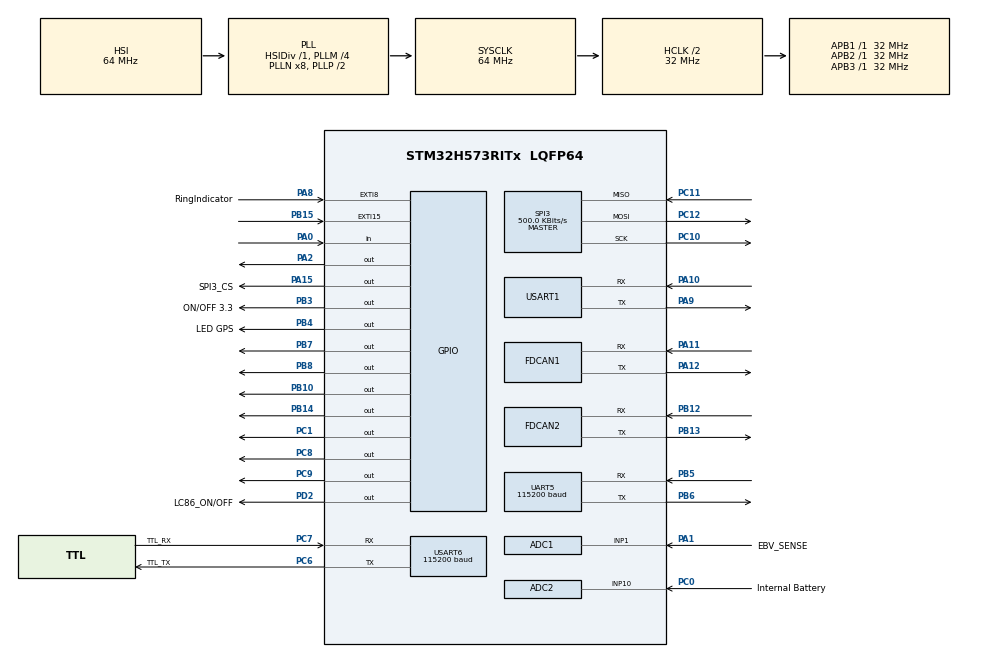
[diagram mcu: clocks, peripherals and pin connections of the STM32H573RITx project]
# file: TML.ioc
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ADC1.Channel-2\#ChannelRegularConversion=ADC_CHANNEL_1
ADC1.MonitoredBy-2\#ChannelRegularConversion=__NULL
ADC1.NbrOfConversionFlag=1
ADC1.OffsetNumber-2\#ChannelRegularConversion=ADC_OFFSET_NONE
ADC1.Rank-2\#ChannelRegularConversion=1
ADC1.SamplingTime-2\#ChannelRegularConversion=ADC_SAMPLETIME_2CYCLES_5
ADC1.master=1
ADC2.Channel-0\#ChannelRegularConversion=ADC_CHANNEL_10
ADC2.MonitoredBy-0\#ChannelRegularConversion=__NULL
ADC2.NbrOfConversionFlag=1
ADC2.OffsetNumber-0\#ChannelRegularConversion=ADC_OFFSET_NONE
ADC2.Rank-0\#ChannelRegularConversion=1
ADC2.SamplingTime-0\#ChannelRegularConversion=ADC_SAMPLETIME_2CYCLES_5
BOOTPATH.BootPathName=LEGACY
BOOTPATH.UserSelectedBootPath=LEGACY
CORTEX_M33_NS.userName=CORTEX_M33
CRC.CRCLength=CRC_POLYLENGTH_8B
CRC.DefaultInitValueUse=DEFAULT_INIT_VALUE_DISABLE
CRC.DefaultPolynomialUse=DEFAULT_POLYNOMIAL_DISABLE
FDCAN1.AutoRetransmission=ENABLE
FDCAN1.CalculateBaudRateNominal=500000
FDCAN1.CalculateTimeBitNominal=2000
FDCAN1.CalculateTimeQuantumNominal=20.0
FDCAN1.DataPrescaler=4
FDCAN1.DataSyncJumpWidth=9
FDCAN1.DataTimeSeg1=15
FDCAN1.DataTimeSeg2=9
FDCAN1.NominalPrescaler=1
FDCAN1.NominalSyncJumpWidth=13
FDCAN1.NominalTimeSeg1=86
FDCAN1.NominalTimeSeg2=13
FDCAN1.ProtocolException=ENABLE
FDCAN2.AutoRetransmission=ENABLE
FDCAN2.CalculateBaudRateNominal=500000
FDCAN2.CalculateTimeBitNominal=2000
FDCAN2.CalculateTimeQuantumNominal=20.0
FDCAN2.DataPrescaler=4
FDCAN2.DataSyncJumpWidth=9
FDCAN2.DataTimeSeg1=15
FDCAN2.DataTimeSeg2=9
FDCAN2.NominalPrescaler=1
FDCAN2.NominalSyncJumpWidth=13
FDCAN2.NominalTimeSeg1=86
FDCAN2.NominalTimeSeg2=13
FDCAN2.ProtocolException=ENABLE
FLASH.OB_BOR_Level_active=false
FLASH.OB_EDATA1_active=false
FLASH.OB_Product_State_active=true
FLASH.advanced_settings=true
GPDMA1.CIRCULARMODE_GPDMACH4=ENABLE
GPDMA1.DESTINC_GPDMACH4=DMA_DINC_INCREMENTED
GPDMA1.IPHANDLE_GPDMACH4-SIMPLEREQUEST_GPDMACH4=__NULL
GPDMA1.PRIORITY_LL_CIRCULAR_GPDMACH4=DMA_HIGH_PRIORITY
GPDMA1.REQUEST_GPDMACH4=GPDMA1_REQUEST_UART5_RX
Mcu.Family=STM32H5
Mcu.Name=STM32H573RITx
Mcu.Package=LQFP64
NVIC.EXTI15_IRQn=true\:0\:0\:false\:false\:true\:true\:true\:true
NVIC.EXTI8_IRQn=true\:0\:0\:false\:false\:true\:true\:true\:true
NVIC.FDCAN1_IT0_IRQn=true\:0\:0\:false\:false\:true\:true\:true\:true
NVIC.FDCAN2_IT0_IRQn=true\:0\:0\:false\:false\:true\:true\:true\:true
NVIC.GPDMA1_Channel4_IRQn=true\:0\:0\:false\:false\:true\:false\:true\:true
NVIC.PriorityGroup=NVIC_PRIORITYGROUP_4
NVIC.RTC_IRQn=true\:0\:0\:false\:false\:true\:true\:true\:true
NVIC.TIM6_IRQn=true\:0\:0\:false\:false\:true\:true\:true\:true
NVIC.UART5_IRQn=true\:0\:0\:false\:false\:true\:true\:true\:true
NVIC.USART1_IRQn=true\:0\:0\:false\:false\:true\:true\:true\:true
NVIC.USART6_IRQn=true\:0\:0\:false\:false\:true\:true\:true\:true
PA0.Signal=GPIO_Input
PA1.GPIO_Label=EBV_SENSE
PA1.Signal=ADCx_INP1
PA10.GPIO_ModeDefaultPP=GPIO_MODE_AF_PP
PA10.GPIO_PuPd=GPIO_NOPULL
PA10.GPIO_Speed=GPIO_SPEED_FREQ_LOW
PA10.Mode=Asynchronous
PA10.Signal=USART1_RX
PA11.Mode=FDCAN_Activate
PA11.Signal=FDCAN1_RX
PA12.Mode=FDCAN_Activate
PA12.Signal=FDCAN1_TX
PA13(JTMS/SWDIO).Mode=Serial_Wire
PA13(JTMS/SWDIO).Signal=DEBUG_JTMS-SWDIO
PA14(JTCK/SWCLK).Mode=Serial_Wire
PA14(JTCK/SWCLK).Signal=DEBUG_JTCK-SWCLK
PA15(JTDI).GPIO_Label=SPI3_CS
PA15(JTDI).GPIO_Speed=GPIO_SPEED_FREQ_VERY_HIGH
PA15(JTDI).PinState=GPIO_PIN_SET
PA15(JTDI).Signal=GPIO_Output
PA2.Signal=GPIO_Output
PA8.GPIO_Label=RingIndicator
PA8.GPIO_ModeDefaultEXTI=GPIO_MODE_IT_FALLING
PA8.Signal=GPXTI8
PA9.GPIO_ModeDefaultPP=GPIO_MODE_AF_PP
PA9.GPIO_PuPd=GPIO_NOPULL
PA9.GPIO_Speed=GPIO_SPEED_FREQ_LOW
PA9.Mode=Asynchronous
PA9.Signal=USART1_TX
PB10.Signal=GPIO_Output
PB12.Mode=FDCAN_Activate
PB12.Signal=FDCAN2_RX
PB13.Mode=FDCAN_Activate
PB13.Signal=FDCAN2_TX
PB14.Signal=GPIO_Output
PB15.GPIO_ModeDefaultEXTI=GPIO_MODE_IT_FALLING
PB15.Signal=GPXTI15
PB3(JTDO/TRACESWO).GPIO_Label=ON/OFF 3.3
PB3(JTDO/TRACESWO).Signal=GPIO_Output
PB4(NJTRST).GPIO_Label=LED GPS
PB4(NJTRST).Signal=GPIO_Output
PB5.GPIO_ModeDefaultPP=GPIO_MODE_AF_PP
PB5.GPIO_PuPd=GPIO_NOPULL
PB5.GPIO_Speed=GPIO_SPEED_FREQ_LOW
PB5.Mode=Asynchronous
PB5.Signal=UART5_RX
PB6.GPIO_FM6=__NULL
PB6.GPIO_ModeDefaultPP=GPIO_MODE_AF_PP
PB6.GPIO_PuPd=GPIO_NOPULL
PB6.GPIO_Speed=GPIO_SPEED_FREQ_LOW
PB6.Mode=Asynchronous
PB6.Signal=UART5_TX
PB7.Signal=GPIO_Output
PB8.Signal=GPIO_Output
PC0.GPIO_Label=Internal Battery
PC0.Signal=ADCx_INP10
PC1.PinState=GPIO_PIN_SET
PC1.Signal=GPIO_Output
PC10.Mode=Full_Duplex_Master
PC10.Signal=SPI3_SCK
PC11.Mode=Full_Duplex_Master
PC11.Signal=SPI3_MISO
PC12.Mode=Full_Duplex_Master
PC12.Signal=SPI3_MOSI
PC6.GPIO_Label=TTL_TX
PC6.Mode=Asynchronous
PC6.Signal=USART6_TX
PC7.GPIO_Label=TTL_RX
PC7.Mode=Asynchronous
PC7.Signal=USART6_RX
PC8.Signal=GPIO_Output
PC9.Signal=GPIO_Output
PD2.GPIO_Label=LC86_ON/OFF
PD2.Signal=GPIO_Output
ProjectManager.HeapSize=0x200
ProjectManager.StackSize=0x400
ProjectManager.TargetToolchain=STM32CubeIDE
RCC.ADCFreq_Value=32000000
RCC.AHBCLKDivider=RCC_SYSCLK_DIV2
RCC.AHBFreq_Value=32000000
RCC.APB1Freq_Value=32000000
RCC.APB1TimFreq_Value=32000000
RCC.APB2Freq_Value=32000000
RCC.APB2TimFreq_Value=32000000
RCC.APB3Freq_Value=32000000
RCC.CSI_VALUE=4000000
RCC.CortexFreq_Value=32000000
RCC.EPOD_VALUE=64000000
RCC.FDCANClockSelection=RCC_FDCANCLKSOURCE_PLL2Q
RCC.HCLKFreq_Value=32000000
RCC.HSE_VALUE=25000000
RCC.HSI48_VALUE=48000000
RCC.HSIDiv=RCC_HSI_DIV1
RCC.HSI_VALUE=64000000
RCC.LSE_VALUE=32768
RCC.LSIRC_VALUE=32000
RCC.PLL2FRACN=0
RCC.PLL2N=50
RCC.PLL2Q=4
RCC.PLLFRACN=0
RCC.PLLM=4
RCC.PLLN=8
RCC.PLLSourceVirtual=RCC_PLL1_SOURCE_HSI
RCC.SYSCLKFreq_VALUE=64000000
RCC.SYSCLKSource=RCC_SYSCLKSOURCE_PLLCLK
RCC.UART5CLockSelection=RCC_UART5CLKSOURCE_HSI
RCC.USART1CLockSelection=RCC_USART1CLKSOURCE_HSI
RCC.USART6CLockSelection=RCC_USART6CLKSOURCE_HSI
RCC.USBFreq_Value=48000000
RCC.VCOOutputFreq_Value=128000000
SH.ADCx_INP1.0=ADC1_INP1,IN1-Single-Ended
SH.ADCx_INP10.0=ADC1_INP10
SH.ADCx_INP10.1=ADC2_INP10,IN10-Single-Ended
SPI3.BaudRatePrescaler=SPI_BAUDRATEPRESCALER_128
SPI3.CLKPhase=SPI_PHASE_2EDGE
SPI3.CLKPolarity=SPI_POLARITY_HIGH
SPI3.CalculateBaudRate=500.0 KBits/s
SPI3.DataSize=SPI_DATASIZE_8BIT
SPI3.Direction=SPI_DIRECTION_2LINES
SPI3.Mode=SPI_MODE_MASTER
SPI3.VirtualType=VM_MASTER
TIM6.AutoReloadPreload=TIM_AUTORELOAD_PRELOAD_ENABLE
TIM6.PeriodNoDither=49999
TIM6.Prescaler=4
UART5.BaudRate=115200
UART5.FIFOMode=FIFOMODE_ENABLE
UART5.OneBitSampling=UART_ONE_BIT_SAMPLE_DISABLE
UART5.OverSampling=UART_OVERSAMPLING_16
UART5.RXFIFOThreshold=RXFIFO_THRESHOLD_1EIGHTHFULL
UART5.WordLength=WORDLENGTH_8B
USART1.FIFOMode=FIFOMODE_DISABLE
USART1.RXFIFOThreshold=RXFIFO_THRESHOLD_1EIGHTHFULL
USART1.RxPinLevelInvertParam=ADVFEATURE_RXINV_DISABLE
USART1.VirtualMode=VM_ASYNC
USART6.BaudRate=115200
USART6.FIFOMode=FIFOMODE_ENABLE
USART6.RXFIFOThreshold=RXFIFO_THRESHOLD_FULL
USART6.VirtualMode=VM_ASYNC
VP_AES_VS_AES.Mode=AES_Activate
VP_BOOTPATH_VS_BOOTPATH.Mode=BP_Activate
VP_CORTEX_M33_NS_VS_Hclk.Mode=Hclk_Mode
VP_CRC_VS_CRC.Mode=CRC_Activate
VP_FLASH_SIG_Activate_FlashIP.Mode=Activate_FlashIP
VP_GPDMA1_VS_GPDMACH4.Mode=SIMPLEREQUEST_GPDMACH4
VP_ICACHE_VS_ICACHE.Mode=DirectMappedCache
VP_MEMORYMAP_VS_MEMORYMAP.Mode=CurAppReg
VP_PWR_VS_DBSignals.Mode=DisableDeadBatterySignals
VP_PWR_VS_LPOM.Mode=PowerOptimisation
VP_PWR_VS_SECSignals.Mode=Security/Privilege
VP_RTC_VS_RTC_Activate.Mode=RTC_Enabled
VP_RTC_VS_RTC_WakeUp_intern.Mode=WakeUp
VP_TIM6_VS_ClockSourceINT.Mode=Enable_Timer
board=custom

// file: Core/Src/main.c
/* USER CODE BEGIN Header */
/**
  ******************************************************************************
  * @file           : main.c
  * @brief          : Main program body
  ******************************************************************************
  * @attention
  *
  * Copyright (c) 2024 STMicroelectronics.
  * All rights reserved.
  *
  * This software is licensed under terms that can be found in the LICENSE file
  * in the root directory of this software component.
  * If no LICENSE file comes with this software, it is provided AS-IS.
  *
  ******************************************************************************
  */
/* USER CODE END Header */
#include "main.h"
#include "adc.h"
#include "aes.h"
#include "crc.h"
#include "fdcan.h"
#include "flash.h"
#include "gpdma.h"
#include "icache.h"
#include "memorymap.h"
#include "rtc.h"
#include "spi.h"
#include "tim.h"
#include "usart.h"
#include "gpio.h"

/* USER CODE BEGIN Includes */
#include "TML.h"
/* USER CODE END Includes */

/* USER CODE BEGIN PV */
uint64_t CP;
int LCP;
/* USER CODE END PV */

void SystemClock_Config(void);
void PeriphCommonClock_Config(void);

/* USER CODE BEGIN 0 */
void HAL_FDCAN_RxFifo0Callback(FDCAN_HandleTypeDef *hfdcan, uint32_t RxFifo0ITs);

bool val=false;
void setupBootLoader() {
	char CP_Data[8] = { 0 };
	char LCP_Data[8]={0};
	FLASH_Read_Buff(Current_App_LOC, CP_Data, 5);
	FLASH_Read_Buff(Current_App_LOC+16, LCP_Data, 5);
	CP = CP_Data[0];
	LCP = LCP_Data[0];
	Application_jump();
}
/* USER CODE END 0 */

int main(void)
{

  /* USER CODE BEGIN 1 */
	setupBootLoader();
  /* USER CODE END 1 */

  /* MCU Configuration--------------------------------------------------------*/

  /* Reset of all peripherals, Initializes the Flash interface and the Systick. */
   HAL_Init();

  /* Configure the system clock */
  SystemClock_Config();

/* Configure the peripherals common clocks */
  PeriphCommonClock_Config();

  /* Initialize all configured peripherals */
  MX_GPIO_Init();
  MX_GPDMA1_Init();
  MX_UART5_Init();
  MX_ICACHE_Init();
  MX_USART6_UART_Init();
  MX_USART1_UART_Init();
  MX_FDCAN2_Init();
  MX_FDCAN1_Init();
  MX_TIM6_Init();
  MX_AES_Init();
  MX_CRC_Init();
  MX_SPI3_Init();
  MX_FLASH_Init();
  MX_ADC1_Init();
  MX_ADC2_Init();
  MX_RTC_Init();
  /* USER CODE BEGIN 2 */
  init();
initCan(); // Called Separately because init is called on wakeup

  /* USER CODE END 2 */

  /* Infinite loop */
  /* USER CODE BEGIN WHILE */
  while (1)
  {

 	  loop();

    /* USER CODE END WHILE */

    /* USER CODE BEGIN 3 */
//

  }
  /* USER CODE END 3 */
}

void SystemClock_Config(void)
{
  RCC_OscInitTypeDef RCC_OscInitStruct = {0};
  RCC_ClkInitTypeDef RCC_ClkInitStruct = {0};

  /** Configure the main internal regulator output voltage
  */
  __HAL_PWR_VOLTAGESCALING_CONFIG(PWR_REGULATOR_VOLTAGE_SCALE3);

  while(!__HAL_PWR_GET_FLAG(PWR_FLAG_VOSRDY)) {}

  /** Initializes the RCC Oscillators according to the specified parameters
  * in the RCC_OscInitTypeDef structure.
  */
  RCC_OscInitStruct.OscillatorType = RCC_OSCILLATORTYPE_HSI|RCC_OSCILLATORTYPE_LSI
                              |RCC_OSCILLATORTYPE_CSI;
  RCC_OscInitStruct.HSIState = RCC_HSI_ON;
  RCC_OscInitStruct.HSIDiv = RCC_HSI_DIV1;
  RCC_OscInitStruct.HSICalibrationValue = RCC_HSICALIBRATION_DEFAULT;
  RCC_OscInitStruct.LSIState = RCC_LSI_ON;
  RCC_OscInitStruct.CSIState = RCC_CSI_ON;
  RCC_OscInitStruct.CSICalibrationValue = RCC_CSICALIBRATION_DEFAULT;
  RCC_OscInitStruct.PLL.PLLState = RCC_PLL_ON;
  RCC_OscInitStruct.PLL.PLLSource = RCC_PLL1_SOURCE_HSI;
  RCC_OscInitStruct.PLL.PLLM = 4;
  RCC_OscInitStruct.PLL.PLLN = 8;
  RCC_OscInitStruct.PLL.PLLP = 2;
  RCC_OscInitStruct.PLL.PLLQ = 2;
  RCC_OscInitStruct.PLL.PLLR = 2;
  RCC_OscInitStruct.PLL.PLLRGE = RCC_PLL1_VCIRANGE_3;
  RCC_OscInitStruct.PLL.PLLVCOSEL = RCC_PLL1_VCORANGE_WIDE;
  RCC_OscInitStruct.PLL.PLLFRACN = 0;
  if (HAL_RCC_OscConfig(&RCC_OscInitStruct) != HAL_OK)
  {
    Error_Handler();
  }

  /** Initializes the CPU, AHB and APB buses clocks
  */
  RCC_ClkInitStruct.ClockType = RCC_CLOCKTYPE_HCLK|RCC_CLOCKTYPE_SYSCLK
                              |RCC_CLOCKTYPE_PCLK1|RCC_CLOCKTYPE_PCLK2
                              |RCC_CLOCKTYPE_PCLK3;
  RCC_ClkInitStruct.SYSCLKSource = RCC_SYSCLKSOURCE_PLLCLK;
  RCC_ClkInitStruct.AHBCLKDivider = RCC_SYSCLK_DIV2;
  RCC_ClkInitStruct.APB1CLKDivider = RCC_HCLK_DIV1;
  RCC_ClkInitStruct.APB2CLKDivider = RCC_HCLK_DIV1;
  RCC_ClkInitStruct.APB3CLKDivider = RCC_HCLK_DIV1;

  if (HAL_RCC_ClockConfig(&RCC_ClkInitStruct, FLASH_LATENCY_3) != HAL_OK)
  {
    Error_Handler();
  }
}

void PeriphCommonClock_Config(void)
{
  RCC_PeriphCLKInitTypeDef PeriphClkInitStruct = {0};

  /** Initializes the peripherals clock
  */
  PeriphClkInitStruct.PeriphClockSelection = RCC_PERIPHCLK_ADCDAC|RCC_PERIPHCLK_FDCAN;
  PeriphClkInitStruct.PLL2.PLL2Source = RCC_PLL2_SOURCE_CSI;
  PeriphClkInitStruct.PLL2.PLL2M = 1;
  PeriphClkInitStruct.PLL2.PLL2N = 50;
  PeriphClkInitStruct.PLL2.PLL2P = 2;
  PeriphClkInitStruct.PLL2.PLL2Q = 4;
  PeriphClkInitStruct.PLL2.PLL2R = 2;
  PeriphClkInitStruct.PLL2.PLL2RGE = RCC_PLL2_VCIRANGE_2;
  PeriphClkInitStruct.PLL2.PLL2VCOSEL = RCC_PLL2_VCORANGE_WIDE;
  PeriphClkInitStruct.PLL2.PLL2FRACN = 0;
  PeriphClkInitStruct.PLL2.PLL2ClockOut = RCC_PLL2_DIVQ;
  PeriphClkInitStruct.FdcanClockSelection = RCC_FDCANCLKSOURCE_PLL2Q;
  if (HAL_RCCEx_PeriphCLKConfig(&PeriphClkInitStruct) != HAL_OK)
  {
    Error_Handler();
  }
}

void Error_Handler(void)
{
  __disable_irq();
  while (1)
  {
  }
}
